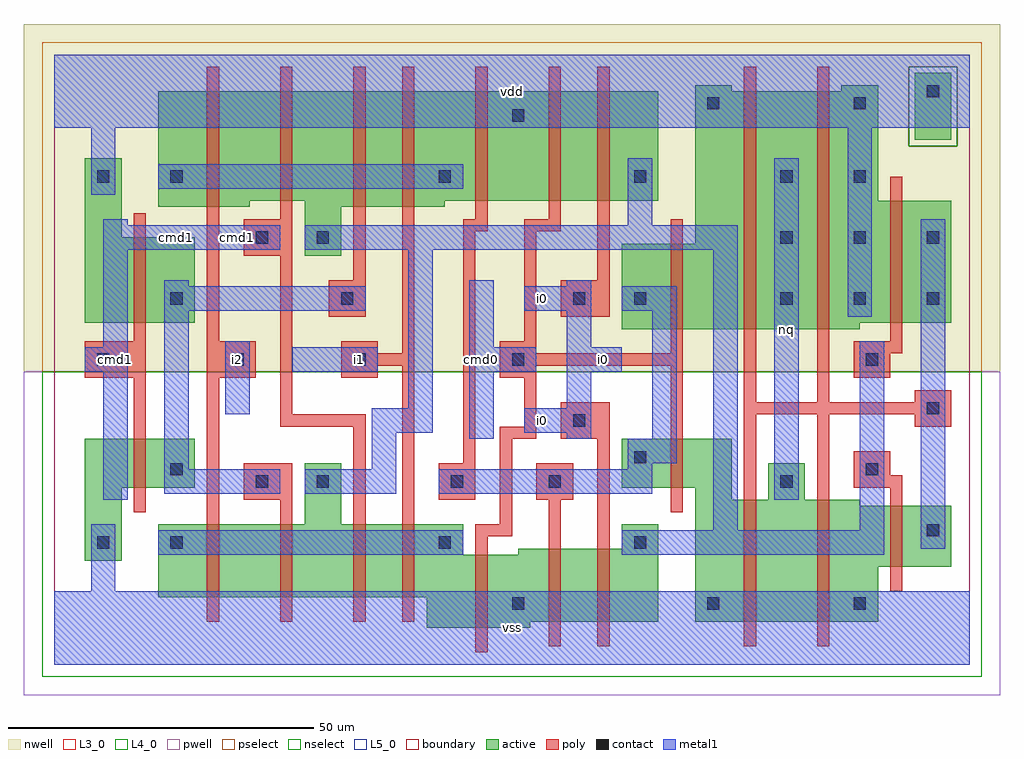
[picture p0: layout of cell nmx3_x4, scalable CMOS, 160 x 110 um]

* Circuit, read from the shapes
.subckt nmx3_x4 cmd0 cmd1 i0 i1 i2 nq vdd vss
M1 n1 cmd1 vss VSUBS nfet w=8u l=2u
M2 n2 i2 n3 VSUBS nfet w=12u l=2u
M3 n4 n1 n2 VSUBS nfet w=12u l=2u
M4 n5 cmd1 n4 VSUBS nfet w=12u l=2u
M5 n3 i1 n5 VSUBS nfet w=12u l=2u
M6 vss cmd0 n3 VSUBS nfet w=12u l=2u
M7 n6 n7 vss VSUBS nfet w=12u l=2u
M8 n4 i0 n6 VSUBS nfet w=12u l=2u
M9 vss cmd0 n7 VSUBS nfet w=8u l=2u
M10 nq n8 vss VSUBS nfet w=20u l=2u m=2
M11 n8 n4 vss VSUBS nfet w=10u l=2u
M12 n1 cmd1 vdd vdd pfet w=14u l=2u
M13 n9 i2 n10 vdd pfet w=19u l=2u
M14 n4 cmd1 n9 vdd pfet w=18u l=2u
M15 n11 n1 n4 vdd pfet w=19u l=2u
M16 n10 i1 n11 vdd pfet w=19u l=2u
M17 vdd n7 n10 vdd pfet w=18u l=2u
M18 n12 cmd0 vdd vdd pfet w=18u l=2u
M19 n4 i0 n12 vdd pfet w=18u l=2u
M20 vdd cmd0 n7 vdd pfet w=14u l=2u
M21 nq n8 vdd vdd pfet w=39u l=2u m=2
M22 n8 n4 vdd vdd pfet w=20u l=2u
.ends

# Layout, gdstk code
import gdstk
lib = gdstk.Library(unit=1e-6, precision=1e-09)
def R(c, l, rs):  # rectangles x0, y0, x1, y1
    for r in rs: c.add(gdstk.rectangle(r[:2], r[2:], *l))
def A(c, l, x, y, w, h, nx, ny, dx, dy):  # array of equal rectangles
    R(c, l, [(x+i*dx, y+j*dy, x+i*dx+w, y+j*dy+h) for i in range(nx) for j in range(ny)])
L3_0 = (3, 0)
L4_0 = (4, 0)
L5_0 = (5, 0)
contact = (25, 0)
pwell = (41, 0)
nwell = (42, 0)
active = (43, 0)
pselect = (44, 0)
nselect = (45, 0)
poly = (46, 0)
metal1 = (49, 0)
boundary = (63, 0)

nmx3_x4 = lib.new_cell('nmx3_x4')
R(nmx3_x4, L3_0, [(61,6,78,7), (61,7,99,11), (105,7,135,16), (17,11,99,18), (105,16,147,26), (5,17,11,29), (17,18,67,23), (76,18,99,19), (93,19,99,23), (41,23,47,33), (105,26,132,27), (105,27,111,29), (117,27,123,33), (5,29,23,37), (93,29,111,37)])
R(nmx3_x4, L4_0, [(93,55,132,56), (5,56,23,70), (93,56,147,69), (41,67,47,75), (105,69,147,76), (5,70,11,83), (17,75,32,76), (41,75,64,76), (17,76,99,94), (105,76,135,94), (105,94,111,95), (129,94,135,95)])
R(nmx3_x4, L5_0, [(141,86,147,97)])
A(nmx3_x4, contact, 75, 9, 2, 2, 1, 3, 0, 40)
A(nmx3_x4, contact, 7, 19, 2, 2, 1, 3, 0, 30)
A(nmx3_x4, contact, 119, 59, 2, 2, 3, 2, 12, 10)
R(nmx3_x4, contact, [(107,9,109,11), (131,9,133,11), (19,19,21,21), (63,19,65,21), (95,19,97,21), (143,21,145,23), (33,29,35,31), (43,29,45,31), (65,29,67,31), (81,29,83,31), (119,29,121,31), (19,31,21,33), (133,31,135,33), (95,33,97,35), (85,39,87,41), (143,41,145,43), (29,49,31,51), (49,49,51,51), (133,49,135,51), (19,59,21,61), (47,59,49,61), (85,59,87,61), (95,59,97,61), (33,69,35,71), (43,69,45,71), (19,79,21,81), (63,79,65,81), (95,79,97,81), (119,79,121,81), (131,79,133,81), (107,91,109,93), (131,91,133,93), (143,93,145,95)])
R(nmx3_x4, pwell, [(-5,-5,155,48)])
R(nmx3_x4, nwell, [(-5,48,155,105)])
R(nmx3_x4, active, [(61,6,78,7), (61,7,99,11), (105,7,135,16), (17,11,99,18), (105,16,147,26), (5,17,11,29), (17,18,67,23), (76,18,99,19), (93,19,99,23), (41,23,47,33), (105,26,132,27), (105,27,111,29), (117,27,123,33), (5,29,23,37), (93,29,111,37), (93,55,132,56), (5,56,23,70), (93,56,147,69), (41,67,47,75), (105,69,147,76), (5,70,11,83), (17,75,32,76), (41,75,64,76), (17,76,99,94), (105,76,135,94), (141,86,147,97), (105,94,111,95), (129,94,135,95)])
R(nmx3_x4, pselect, [(-2,48,152,85), (-2,85,140,98), (148,85,152,98), (-2,98,152,102)])
R(nmx3_x4, nselect, [(-2,-2,152,48), (140,85,148,98)])
R(nmx3_x4, poly, [(69,2,71,21), (81,3,83,27), (89,3,91,37), (113,3,115,41), (125,3,127,41), (25,7,27,47), (37,7,39,27), (49,7,51,39), (57,7,59,49), (137,12,139,29), (69,21,75,23), (73,23,75,37), (13,25,15,47), (101,25,103,49), (31,27,39,33), (63,27,69,33), (79,27,85,33), (131,29,139,31), (131,31,137,35), (67,33,69,71), (73,37,79,39), (83,37,91,43), (37,39,51,41), (77,39,79,47), (141,39,147,41), (37,41,39,67), (113,41,147,43), (113,43,115,98), (125,43,127,98), (141,43,147,45), (5,47,15,53), (25,47,33,53), (47,47,53,49), (73,47,79,49), (131,47,137,51), (47,49,59,51), (73,49,103,51), (47,51,53,53), (57,51,59,98), (73,51,79,53), (101,51,103,73), (131,51,139,53), (13,53,15,74), (25,53,27,98), (77,53,79,71), (137,53,139,80), (45,57,51,63), (83,57,91,63), (49,63,51,98), (89,63,91,98), (31,67,39,73), (67,71,71,73), (77,71,83,73), (37,73,39,98), (69,73,71,98), (81,73,83,98)])
R(nmx3_x4, metal1, [(0,0,150,12), (6,12,10,23), (17,18,67,22), (93,18,136,22), (142,19,146,73), (108,22,112,68), (132,22,136,53), (8,27,12,48), (118,27,122,83), (18,28,37,32), (41,28,56,32), (63,28,98,32), (18,32,22,58), (52,32,56,38), (94,32,98,33), (94,33,102,37), (68,37,72,48), (84,37,88,38), (98,37,102,58), (52,38,62,42), (77,38,88,42), (28,41,32,53), (58,42,62,68), (84,42,88,48), (5,48,12,52), (39,48,53,52), (68,48,79,52), (84,48,93,52), (8,52,12,68), (68,52,72,63), (84,52,88,58), (130,57,134,88), (18,58,51,62), (77,58,88,62), (93,58,102,62), (18,62,22,63), (84,62,88,63), (8,68,37,72), (41,68,112,72), (8,72,12,73), (94,72,98,83), (6,77,10,88), (17,78,67,82), (0,88,150,100)])
R(nmx3_x4, boundary, [(0,0,150,100)])
nmx3_x4.add(gdstk.Label('cmd1', (10,50), layer=49, texttype=0))
nmx3_x4.add(gdstk.Label('i2', (30,50), layer=49, texttype=0))
nmx3_x4.add(gdstk.Label('cmd1', (30,70), layer=49, texttype=0))
nmx3_x4.add(gdstk.Label('cmd1', (20,70), layer=49, texttype=0))
nmx3_x4.add(gdstk.Label('i1', (50,50), layer=49, texttype=0))
nmx3_x4.add(gdstk.Label('cmd0', (70,50), layer=49, texttype=0))
nmx3_x4.add(gdstk.Label('vss', (75,6), layer=49, texttype=0))
nmx3_x4.add(gdstk.Label('i0', (80,40), layer=49, texttype=0))
nmx3_x4.add(gdstk.Label('i0', (90,50), layer=49, texttype=0))
nmx3_x4.add(gdstk.Label('i0', (80,60), layer=49, texttype=0))
nmx3_x4.add(gdstk.Label('vdd', (75,94), layer=49, texttype=0))
nmx3_x4.add(gdstk.Label('nq', (120,55), layer=49, texttype=0))

lib.write_gds('nmx3_x4.gds')
